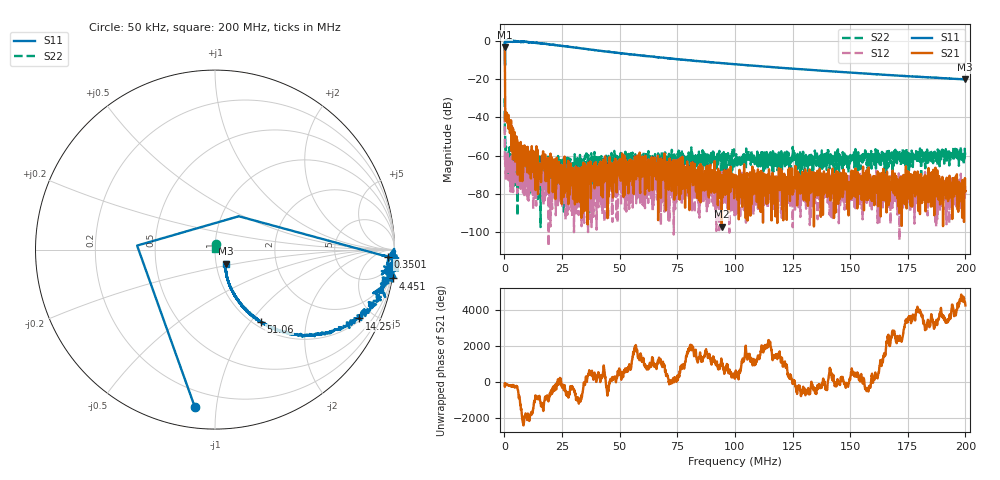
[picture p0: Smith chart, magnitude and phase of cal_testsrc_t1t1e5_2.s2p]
! 26-Feb-26 1:52:26 PM
! E:\VNA_MEASUREMENTS\CAL_S11\CAL_TESTSRC_T1T1E5_2.S2P
! CHANNEL.1
! TR.MEASUREMENT
! CORRECTED.DATA
# GHZ S RI R 50.0
! FREQ.GHZ  S11RE  S11IM  S21RE  S21IM  S12RE  S12IM  S22RE  S22IM
!; PortSelection: Port_12
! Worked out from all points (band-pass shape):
!   2000 points, 50 kHz to 200 MHz, reference 50 ohm
!   highest |S21| = -3.17 dB at 50 kHz (marker M1); lowest = -97.1 dB at 94.27 MHz (marker M2)
!   |S21| within 3 dB of the highest: start of sweep to 132.6 kHz
!   lowest |S11| = -20.2 dB at 199.9 MHz (marker M3), VSWR 1.22, Z = 55.5 - j8.8 ohm
!   |S11| at or under -10 dB: 199.4 kHz to 272.7 kHz (73.25 kHz wide, 31 % of centre); 78.62996 MHz to 78.90626 MHz (276.3 kHz wide, 0.351 % of centre); 79.04 MHz to end of sweep
!   |S22| runs from -97.3 to -30.0 dB; largest |S21 - S12| = 0.71
!   S11 on the Smith chart (normalised r, x): 50 kHz: 0.11, -0.87; 350.1 kHz: 23, -28; 4.451 MHz: -0, -12; 14.25 MHz: 1.12, -4.12; 51.06 MHz: 1.08, -1.12; 200 MHz: 1.11, -0.18
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5e-05  -0.1133 -0.8748  -0.1937 -0.6664  0.00806 0.00951  0.00708 0.0308
0.000350075  0.9652 -0.0407  0.00425 -0.00976  0.000477 -0.000543  -0.00237 -8.2e-05
0.001350325  0.9963 -0.0516  -0.00657 -0.00267  0.00112 0.000155  0.000263 -8.17e-05
0.004451101  0.9917 -0.1605  0.00301 0.00275  0.000253 0.000368  0.000542 -0.000689
0.006751676  0.9242 -0.224  0.000145 -0.000163  0.000134 0.000305  0.000477 -3e-05
0.009152276  0.9076 -0.2787  0.00123 0.00104  0.000216 0.000291  0.000744 0.000256
0.01425355  0.8027 -0.3836  -0.00111 -0.000923  -7.87e-05 -6.63e-05  0.000345 -0.000418
0.03345835  0.4269 -0.4681  0.000498 -4.79e-05  -6.3e-06 -1.29e-05  0.000604 0.00026
0.05106276  0.254 -0.4013  0.000123 0.00113  -0.000191 -6.09e-05  0.000241 0.000248
0.06416603  0.1798 -0.345  -8.72e-05 9.1e-05  1.83e-05 4.85e-05  0.000893 0.000401
0.06676668  0.1694 -0.3331  0.000193 -0.000182  5.91e-05 7.36e-05  0.000906 0.000138
0.08157038  0.1252 -0.2783  0.000671 -0.000108  -0.000212 3.54e-05  0.000531 0.000267
0.08407101  0.1208 -0.2732  -0.000115 -3.78e-05  -0.000143 -6.27e-05  0.00093 0.000504
0.09427356  0.1021 -0.2391  1.39e-05 -1.2e-06  -9.27e-05 -0.000171  0.000528 0.000425
0.100075  0.0944 -0.2287  5.32e-05 -0.000146  -3.14e-05 -7.09e-05  0.000776 0.000577
0.1333833  0.0683 -0.1589  -4.71e-05 0.000371  -0.000239 -2.14e-05  -0.000146 0.000829
0.1495874  0.0625 -0.1349  0.000109 0.000171  2.04e-05 5.28e-05  0.000579 0.00027
0.1526882  0.0622 -0.1309  0.0003 -2.72e-05  -6.6e-06 -0.000258  0.000392 -3.17e-05
0.1666917  0.0601 -0.1131  3.44e-05 -3.72e-05  0.000271 2.68e-05  0.000408 0.000592
0.1863966  0.0596 -0.0922  -7.8e-06 0.000316  0.000158 -2.35e-05  0.0011 0.000469
0.1999  0.059 -0.0784  -1.83e-05 0.000112  -0.000103 -8.8e-06  0.000738 0.0011
0.2  0.0596 -0.0786  9.26e-05 -7.41e-05  4.11e-05 -8.5e-05  0.000694 0.00107
